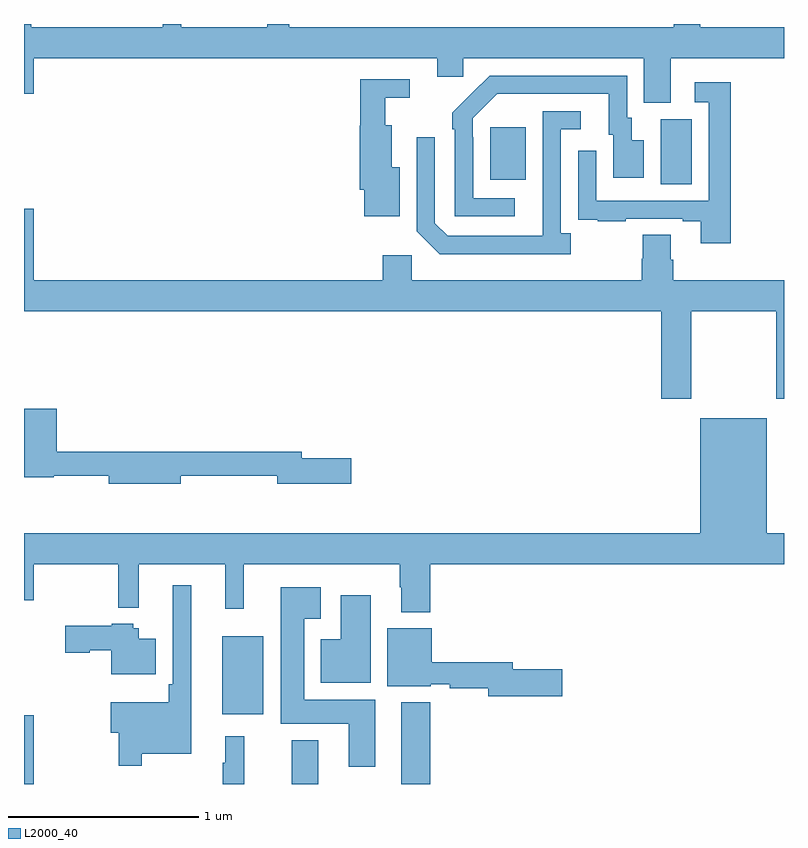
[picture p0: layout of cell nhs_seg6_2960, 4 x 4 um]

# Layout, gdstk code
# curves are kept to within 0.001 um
import gdstk
lib = gdstk.Library(unit=1e-6, precision=1e-09)
def R(c, l, rs):  # rectangles x0, y0, x1, y1
    for r in rs: c.add(gdstk.rectangle(r[:2], r[2:], *l))
def P(c, l, *ps):  # polygons
    for p in ps: c.add(gdstk.Polygon(p, *l))
L2000_40 = (2000, 40)

nhs_seg6_2960 = lib.new_cell('nhs_seg6_2960')
R(nhs_seg6_2960, L2000_40, [(285,959.5,285.052,959.863), (286.409,959.5,286.549,959.731), (286.985,959.5,287.138,959.929), (286.043,959.867,286.258,960.277), (288.35,962.656,288.514,963), (287.453,962.681,287.641,962.956)])
P(nhs_seg6_2960, L2000_40, [(288.403,963.32),(289,963.32),(289,963.484),(288.559,963.484),(288.559,963.5),(288.419,963.5),(288.419,963.484),(286.397,963.484),(286.397,963.5),(286.28,963.5),(286.28,963.484),(285.827,963.484),(285.827,963.5),(285.729,963.5),(285.729,963.484),(285.037,963.484),(285.037,963.5),(285,963.5),(285,963.132),(285.052,963.132),(285.052,963.32),(287.174,963.32),(287.174,963.222),(287.313,963.222),(287.313,963.32),(288.263,963.32),(288.263,963.085),(288.403,963.085)],
  [(287.584,962.583),(287.364,962.583),(287.364,962.903),(287.361,962.903),(287.361,963.003),(287.49,963.132),(288.077,963.132),(288.077,962.916),(288.101,962.916),(288.101,962.691),(288.262,962.691),(288.262,962.887),(288.199,962.887),(288.199,963.006),(288.174,963.006),(288.174,963.228),(287.45,963.228),(287.253,963.033),(287.253,962.945),(287.268,962.945),(287.268,962.487),(287.584,962.487)],
  [(286.978,962.746),(286.936,962.746),(286.936,962.968),(286.9,962.968),(286.9,963.113),(287.029,963.113),(287.029,963.21),(286.771,963.21),(286.771,962.964),(286.766,962.964),(286.766,962.628),(286.79,962.628),(286.79,962.489),(286.978,962.489)],
  [(288.719,963.193),(288.531,963.193),(288.531,963.087),(288.603,963.087),(288.603,962.571),(288.012,962.571),(288.012,962.833),(287.916,962.833),(287.916,962.578),(287.917,962.578),(287.917,962.469),(288.019,962.469),(288.019,962.463),(288.167,962.463),(288.167,962.475),(288.467,962.475),(288.467,962.463),(288.563,962.463),(288.563,962.346),(288.719,962.346)],
  [(287.878,962.398),(287.826,962.398),(287.826,962.946),(287.929,962.946),(287.929,963.042),(287.73,963.042),(287.729,962.385),(287.229,962.385),(287.163,962.451),(287.163,962.905),(287.067,962.905),(287.067,962.409),(287.188,962.288),(287.878,962.288)],
  [(288.416,962.258),(288.403,962.258),(288.403,962.39),(288.256,962.39),(288.256,962.265),(288.251,962.265),(288.251,962.152),(287.04,962.152),(287.04,962.284),(286.889,962.284),(286.889,962.152),(285.052,962.152),(285.052,962.527),(285,962.527),(285,961.988),(288.353,961.988),(288.353,961.527),(288.513,961.527),(288.513,961.988),(288.958,961.988),(288.958,961.527),(289,961.527),(289,962.152),(288.416,962.152)],
  [(285.826,961.122),(286.334,961.122),(286.334,961.079),(286.723,961.079),(286.723,961.214),(286.462,961.214),(286.462,961.25),(285.173,961.25),(285.173,961.474),(285.002,961.474),(285.002,961.114),(285.156,961.114),(285.156,961.122),(285.446,961.122),(285.446,961.079),(285.826,961.079)],
  [(287.138,960.656),(289,960.656),(289,960.82),(288.91,960.82),(288.91,961.426),(288.56,961.426),(288.56,960.82),(285,960.82),(285,960.468),(285.052,960.468),(285.052,960.656),(285.495,960.656),(285.495,960.428),(285.605,960.428),(285.605,960.656),(286.058,960.656),(286.058,960.423),(286.157,960.423),(286.157,960.656),(286.978,960.656),(286.978,960.536),(286.985,960.536),(286.985,960.404),(287.138,960.404)],
  [(285.619,959.66),(285.88,959.66),(285.88,960.547),(285.783,960.547),(285.783,960.025),(285.763,960.025),(285.763,959.929),(285.456,959.929),(285.456,959.771),(285.498,959.771),(285.498,959.595),(285.619,959.595)],
  [(286.849,959.944),(286.474,959.944),(286.474,960.371),(286.561,960.371),(286.561,960.535),(286.352,960.535),(286.352,959.816),(286.709,959.816),(286.709,959.592),(286.849,959.592)],
  [(286.825,960.493),(286.667,960.493),(286.667,960.262),(286.562,960.262),(286.562,960.032),(286.825,960.032)],
  [(285.694,960.265),(285.604,960.265),(285.604,960.321),(285.576,960.321),(285.576,960.343),(285.462,960.343),(285.462,960.333),(285.216,960.333),(285.216,960.191),(285.345,960.191),(285.345,960.203),(285.458,960.203),(285.458,960.077),(285.694,960.077)],
  [(287.833,960.104),(287.572,960.104),(287.572,960.14),(287.146,960.14),(287.146,960.319),(286.913,960.319),(286.913,960.014),(287.142,960.014),(287.142,960.024),(287.242,960.024),(287.242,960.004),(287.444,960.004),(287.444,959.962),(287.833,959.962)],
  [(286.158,959.752),(286.058,959.752),(286.058,959.612),(286.047,959.612),(286.047,959.5),(286.158,959.5)])

lib.write_gds('nhs_seg6_2960.gds')
